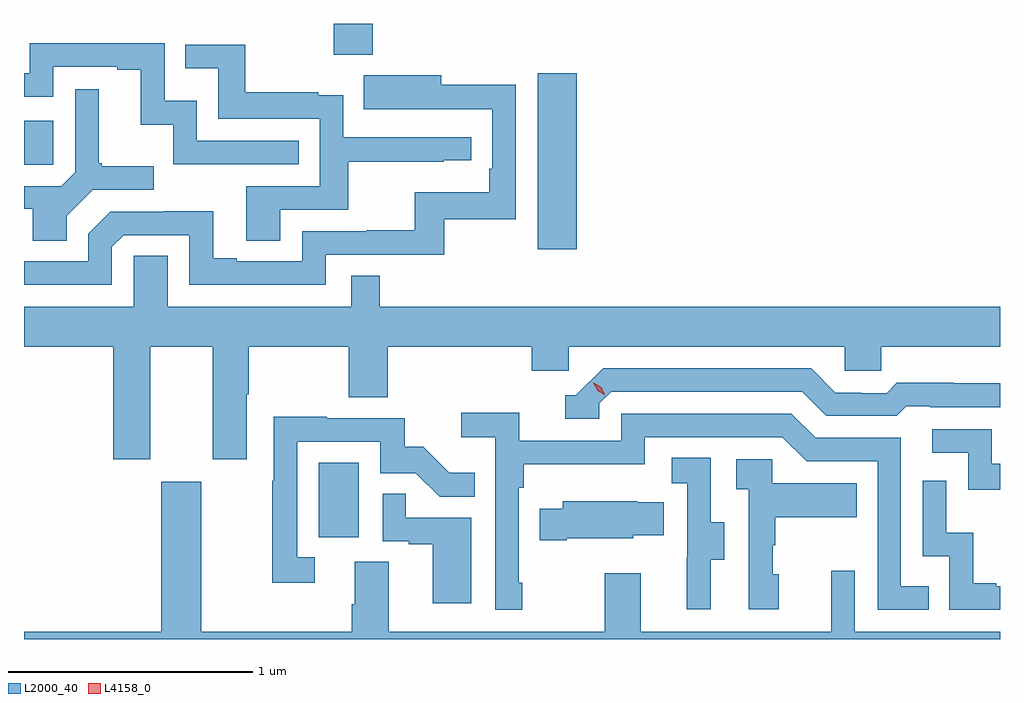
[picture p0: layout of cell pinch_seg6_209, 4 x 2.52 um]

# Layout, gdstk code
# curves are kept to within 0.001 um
import gdstk
lib = gdstk.Library(unit=1e-6, precision=1e-09)
def R(c, l, rs):  # rectangles x0, y0, x1, y1
    for r in rs: c.add(gdstk.rectangle(r[:2], r[2:], *l))
def P(c, l, *ps):  # polygons
    for p in ps: c.add(gdstk.Polygon(p, *l))
L2000_40 = (2000, 40)
L4158_0 = (4158, 0)

pinch_seg6_209 = lib.new_cell('pinch_seg6_209')
R(pinch_seg6_209, L2000_40, [(1019.132,915.918,1019.296,916.225), (1020.029,917.1,1020.19,917.821), (1017.924,917.445,1018.044,917.625), (1019.194,917.897,1019.354,918.024)])
P(pinch_seg6_209, L2000_40, [(1019.051,917.544),(1018.632,917.544),(1018.632,917.707),(1018.5,917.707),(1018.5,917.943),(1017.948,917.943),(1017.948,917.82),(1017.924,917.82),(1017.924,917.724),(1018.044,917.724),(1018.044,917.847),(1018.307,917.847),(1018.307,917.835),(1018.403,917.835),(1018.403,917.609),(1018.536,917.609),(1018.536,917.448),(1019.051,917.448)],
  [(1018.975,917.262),(1019.252,917.262),(1019.252,917.458),(1019.645,917.458),(1019.645,917.463),(1019.758,917.463),(1019.758,917.559),(1019.232,917.559),(1019.232,917.731),(1019.129,917.731),(1019.129,917.743),(1018.831,917.743),(1018.831,917.937),(1018.585,917.937),(1018.585,917.84),(1018.72,917.84),(1018.72,917.634),(1019.136,917.634),(1019.136,917.358),(1018.835,917.358),(1018.835,917.134),(1018.975,917.134)],
  [(1018.284,917.109),(1018.332,917.157),(1018.602,917.157),(1018.602,916.953),(1019.16,916.953),(1019.16,917.076),(1019.647,917.076),(1019.647,917.223),(1019.94,917.223),(1019.94,917.774),(1019.635,917.774),(1019.635,917.812),(1019.317,917.812),(1019.317,917.672),(1019.844,917.673),(1019.844,917.428),(1019.831,917.428),(1019.831,917.332),(1019.526,917.332),(1019.526,917.177),(1019.329,917.177),(1019.329,917.172),(1019.064,917.172),(1019.064,917.049),(1018.795,917.049),(1018.795,917.062),(1018.699,917.062),(1018.699,917.255),(1018.494,917.255),(1018.494,917.253),(1018.278,917.253),(1018.188,917.163),(1018.188,917.049),(1017.924,917.049),(1017.924,916.953),(1018.284,916.953)],
  [(1018.099,917.236),(1018.206,917.343),(1018.456,917.343),(1018.456,917.44),(1018.243,917.44),(1018.243,917.452),(1018.231,917.452),(1018.231,917.755),(1018.134,917.755),(1018.134,917.415),(1018.077,917.358),(1017.924,917.358),(1017.924,917.266),(1017.959,917.266),(1017.959,917.134),(1018.099,917.134)],
  [(1018.441,916.7),(1018.697,916.7),(1018.697,916.239),(1018.837,916.239),(1018.837,916.504),(1018.845,916.504),(1018.845,916.7),(1019.254,916.7),(1019.254,916.492),(1019.414,916.492),(1019.414,916.7),(1020.005,916.7),(1020.005,916.602),(1020.156,916.602),(1020.156,916.7),(1021.287,916.7),(1021.287,916.602),(1021.437,916.602),(1021.437,916.7),(1021.924,916.7),(1021.924,916.864),(1019.381,916.864),(1019.381,916.991),(1019.265,916.991),(1019.265,916.864),(1018.513,916.864),(1018.513,917.072),(1018.374,917.072),(1018.374,916.864),(1017.924,916.864),(1017.924,916.7),(1018.289,916.7),(1018.289,916.239),(1018.441,916.239)],
  [(1020.282,916.467),(1020.33,916.515),(1021.113,916.515),(1021.212,916.416),(1021.501,916.416),(1021.54,916.455),(1021.639,916.455),(1021.639,916.452),(1021.924,916.452),(1021.924,916.549),(1021.734,916.549),(1021.734,916.552),(1021.501,916.552),(1021.459,916.509),(1021.356,916.509),(1021.356,916.512),(1021.249,916.512),(1021.15,916.611),(1020.297,916.611),(1020.186,916.5),(1020.143,916.5),(1020.143,916.404),(1020.282,916.404)],
  [(1019.965,915.733),(1019.952,915.733),(1019.952,916.121),(1019.972,916.121),(1019.972,916.217),(1020.468,916.217),(1020.468,916.329),(1021.032,916.329),(1021.131,916.23),(1021.422,916.23),(1021.422,915.621),(1021.631,915.621),(1021.631,915.717),(1021.518,915.717),(1021.518,916.326),(1021.168,916.326),(1021.069,916.425),(1020.372,916.425),(1020.372,916.314),(1019.954,916.314),(1019.954,916.43),(1019.715,916.43),(1019.715,916.328),(1019.856,916.328),(1019.856,915.621),(1019.965,915.621)],
  [(1019.116,915.837),(1019.043,915.837),(1019.043,916.311),(1019.385,916.311),(1019.385,916.182),(1019.529,916.182),(1019.627,916.084),(1019.771,916.084),(1019.771,916.183),(1019.667,916.183),(1019.56,916.29),(1019.484,916.29),(1019.484,916.407),(1019.165,916.407),(1019.165,916.412),(1018.947,916.412),(1018.947,916.151),(1018.942,916.151),(1018.942,915.732),(1019.116,915.732)],
  [(1021.924,916.221),(1021.89,916.221),(1021.89,916.362),(1021.647,916.362),(1021.647,916.266),(1021.794,916.266),(1021.794,916.113),(1021.924,916.113)],
  [(1020.739,915.826),(1020.793,915.826),(1020.793,915.981),(1020.738,915.981),(1020.738,916.244),(1020.579,916.244),(1020.579,916.141),(1020.642,916.141),(1020.642,915.837),(1020.641,915.837),(1020.641,915.624),(1020.739,915.624)],
  [(1021.018,915.768),(1020.993,915.768),(1020.993,915.887),(1021.003,915.887),(1021.003,916.001),(1021.337,916.001),(1021.337,916.141),(1020.99,916.141),(1020.99,916.239),(1020.843,916.239),(1020.843,916.115),(1020.894,916.115),(1020.894,915.624),(1021.018,915.624)],
  [(1021.924,915.717),(1021.909,915.717),(1021.909,915.73),(1021.814,915.73),(1021.814,915.938),(1021.704,915.938),(1021.704,916.15),(1021.608,916.15),(1021.608,915.84),(1021.716,915.84),(1021.716,915.621),(1021.924,915.621)],
  [(1021.924,915.532),(1021.329,915.532),(1021.329,915.781),(1021.232,915.781),(1021.232,915.532),(1020.451,915.532),(1020.451,915.772),(1020.304,915.772),(1020.304,915.532),(1019.419,915.532),(1019.419,915.818),(1019.279,915.818),(1019.279,915.644),(1019.267,915.644),(1019.267,915.532),(1018.651,915.532),(1018.651,916.147),(1018.487,916.147),(1018.487,915.532),(1017.924,915.532),(1017.924,915.5),(1021.924,915.5)],
  [(1019.758,915.999),(1019.489,915.999),(1019.489,916.097),(1019.394,916.097),(1019.394,915.903),(1019.501,915.903),(1019.501,915.891),(1019.6,915.891),(1019.6,915.648),(1019.758,915.648)],
  [(1020.148,915.914),(1020.42,915.914),(1020.42,915.926),(1020.545,915.926),(1020.545,916.063),(1020.437,916.063),(1020.437,916.066),(1020.131,916.066),(1020.131,916.036),(1020.037,916.036),(1020.037,915.907),(1020.148,915.907)])
P(pinch_seg6_209, L4158_0, [(1020.306,916.501),(1020.275,916.52),(1020.258,916.552),(1020.258,916.552),(1020.259,916.552),(1020.29,916.534),(1020.306,916.501),(1020.306,916.501)])

lib.write_gds('pinch_seg6_209.gds')
